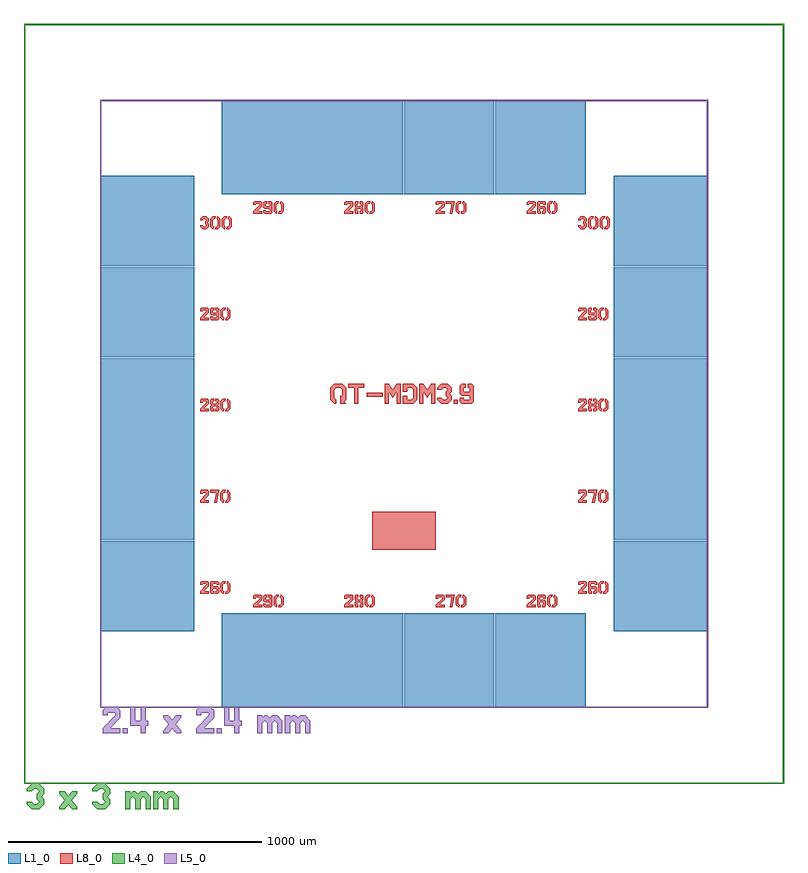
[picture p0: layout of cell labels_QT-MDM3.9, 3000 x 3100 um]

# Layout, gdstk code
import gdstk
lib = gdstk.Library(unit=1e-6, precision=1e-09)
def R(c, l, rs):  # rectangles x0, y0, x1, y1
    for r in rs: c.add(gdstk.rectangle(r[:2], r[2:], *l))
def A(c, l, x, y, w, h, nx, ny, dx, dy):  # array of equal rectangles
    R(c, l, [(x+i*dx, y+j*dy, x+i*dx+w, y+j*dy+h) for i in range(nx) for j in range(ny)])
def P(c, l, *ps):  # polygons
    for p in ps: c.add(gdstk.Polygon(p, *l))
L1_0 = (1, 0)
L4_0 = (4, 0)
L5_0 = (5, 0)
L8_0 = (8, 0)

text_t3_x_3_mm_s100_p0__ = lib.new_cell('text_T3_x_3_mm_S100_P0__7b22a6d8')
P(text_t3_x_3_mm_s100_p0__, L4_0, [(140,0),(140,10),(160.8,35),(140,60),(140,70),(160,70),(175,52),(190,70),(210,70),(210,60),(189.2,35),(210,10),(210,0),(190,0),(175,18),(160,0)],
  [(400,0),(400,70),(420,70),(420,60),(430,70),(440,70),(450,60),(460,70),(480,70),(500,50),(500,0),(480,0),(480,40),(470,50),(460,40),(460,0),(440,0),(440,40),(430,50),(420,40),(420,0)],
  [(510,0),(510,70),(530,70),(530,60),(540,70),(550,70),(560,60),(570,70),(590,70),(610,50),(610,0),(590,0),(590,40),(580,50),(570,40),(570,0),(550,0),(550,40),(540,50),(530,40),(530,0)],
  [(30,0),(10,20),(10,30),(30,30),(40,20),(50,20),(60,30),(50,40),(50,60),(60,70),(50,80),(40,80),(30,70),(10,70),(10,80),(30,100),(60,100),(80,80),(80,60),(70,50),(80,40),(80,20),(60,0)],
  [(290,0),(270,20),(270,30),(290,30),(300,20),(310,20),(320,30),(310,40),(310,60),(320,70),(310,80),(300,80),(290,70),(270,70),(270,80),(290,100),(320,100),(340,80),(340,60),(330,50),(340,40),(340,20),(320,0)])

text_t2p4_x_2p4_mm_s100_ = lib.new_cell('text_T2p4_x_2p4_mm_S100_c386069a')
R(text_t2p4_x_2p4_mm_s100_, L5_0, [(90,0,110,20), (460,0,480,20)])
P(text_t2p4_x_2p4_mm_s100_, L5_0, [(250,0),(250,10),(270.8,35),(250,60),(250,70),(270,70),(285,52),(300,70),(320,70),(320,60),(299.2,35),(320,10),(320,0),(300,0),(285,18),(270,0)],
  [(620,0),(620,70),(640,70),(640,60),(650,70),(660,70),(670,60),(680,70),(700,70),(720,50),(720,0),(700,0),(700,40),(690,50),(680,40),(680,0),(660,0),(660,40),(650,50),(640,40),(640,0)],
  [(730,0),(730,70),(750,70),(750,60),(760,70),(770,70),(780,60),(790,70),(810,70),(830,50),(830,0),(810,0),(810,40),(800,50),(790,40),(790,0),(770,0),(770,40),(760,50),(750,40),(750,0)],
  [(10,0),(10,20),(60,70),(60,80),(30,80),(30,70),(10,70),(10,90),(20,100),(70,100),(80,90),(80,60),(40,20),(80,20),(80,0)],
  [(160,0),(160,30),(120,30),(120,100),(140,100),(140,50),(160,50),(160,100),(180,100),(180,50),(190,50),(190,30),(180,30),(180,0)],
  [(380,0),(380,20),(430,70),(430,80),(400,80),(400,70),(380,70),(380,90),(390,100),(440,100),(450,90),(450,60),(410,20),(450,20),(450,0)],
  [(530,0),(530,30),(490,30),(490,100),(510,100),(510,50),(530,50),(530,100),(550,100),(550,50),(560,50),(560,30),(550,30),(550,0)])

labels_qt_mdm3_9 = lib.new_cell('labels_QT-MDM3.9')
A(labels_qt_mdm3_9, L1_0, 780, 300, 357, 373, 4, 2, 360, 2027)
A(labels_qt_mdm3_9, L1_0, 300, 603, 373, 357, 1, 5, 0, 360)
A(labels_qt_mdm3_9, L1_0, 2327, 603, 373, 357, 1, 5, 0, 360)
P(labels_qt_mdm3_9, L4_0, [(0,0),(0,2995),(5,2995),(5,5),(2995,5),(2995,2995),(0,2995),(0,3000),(3000,3000),(3000,0)])
P(labels_qt_mdm3_9, L5_0, [(300,300),(300,2695),(305,2695),(305,305),(2695,305),(2695,2695),(300,2695),(300,2700),(2700,2700),(2700,300)])
R(labels_qt_mdm3_9, L8_0, [(1375,925,1625,1075), (1375,925,1625,1075), (1375,925,1625,1075), (1375,925,1625,1075), (1696,1500,1712,1516), (1696,1500,1712,1516), (1696,1500,1712,1516), (1696,1500,1712,1516), (1352,1528,1416,1544), (1352,1528,1416,1544), (1352,1528,1416,1544), (1352,1528,1416,1544)])
P(labels_qt_mdm3_9, L8_0, [(1496,1500),(1496,1532),(1512,1532),(1512,1516),(1528,1516),(1536,1524),(1536,1556),(1528,1564),(1512,1564),(1512,1548),(1496,1548),(1496,1580),(1536,1580),(1552,1564),(1552,1516),(1536,1500)],
  [(695,1470),(695,1480),(720,1505),(720,1510),(705,1510),(705,1505),(695,1505),(695,1515),(700,1520),(725,1520),(730,1515),(730,1500),(710,1480),(730,1480),(730,1470)],
  [(740,1470),(735,1475),(735,1490),(740,1495),(735,1500),(735,1515),(740,1520),(750,1520),(750,1510),(745,1510),(745,1500),(760,1500),(760,1510),(755,1510),(755,1520),(765,1520),(770,1515),(770,1500),(765,1495),(770,1490),(770,1475),(765,1470),(755,1470),(755,1480),(760,1480),(760,1490),(745,1490),(745,1480),(750,1480),(750,1470)],
  [(785,1470),(775,1480),(775,1510),(785,1520),(796.5,1520),(794,1510),(790,1510),(785,1505),(785,1485),(790,1480),(787.5,1470)],
  [(793.5,1470),(796,1480),(800,1480),(805,1485),(805,1505),(800,1510),(802.5,1520),(805,1520),(815,1510),(815,1480),(805,1470)],
  [(1496,1500),(1496,1532),(1512,1532),(1512,1516),(1528,1516),(1536,1524),(1536,1556),(1528,1564),(1512,1564),(1512,1548),(1496,1548),(1496,1580),(1536,1580),(1552,1564),(1552,1516),(1536,1500)],
  [(2187,1470),(2187,1480),(2212,1505),(2212,1510),(2197,1510),(2197,1505),(2187,1505),(2187,1515),(2192,1520),(2217,1520),(2222,1515),(2222,1500),(2202,1480),(2222,1480),(2222,1470)],
  [(2232,1470),(2227,1475),(2227,1490),(2232,1495),(2227,1500),(2227,1515),(2232,1520),(2242,1520),(2242,1510),(2237,1510),(2237,1500),(2252,1500),(2252,1510),(2247,1510),(2247,1520),(2257,1520),(2262,1515),(2262,1500),(2257,1495),(2262,1490),(2262,1475),(2257,1470),(2247,1470),(2247,1480),(2252,1480),(2252,1490),(2237,1490),(2237,1480),(2242,1480),(2242,1470)],
  [(2277,1470),(2267,1480),(2267,1510),(2277,1520),(2288.5,1520),(2286,1510),(2282,1510),(2277,1505),(2277,1485),(2282,1480),(2279.5,1470)],
  [(2285.5,1470),(2288,1480),(2292,1480),(2297,1485),(2297,1505),(2292,1510),(2294.5,1520),(2297,1520),(2307,1510),(2307,1480),(2297,1470)],
  [(1496,1500),(1496,1532),(1512,1532),(1512,1516),(1528,1516),(1536,1524),(1536,1556),(1528,1564),(1512,1564),(1512,1548),(1496,1548),(1496,1580),(1536,1580),(1552,1564),(1552,1516),(1536,1500)],
  [(1496,1500),(1496,1532),(1512,1532),(1512,1516),(1528,1516),(1536,1524),(1536,1556),(1528,1564),(1512,1564),(1512,1548),(1496,1548),(1496,1580),(1536,1580),(1552,1564),(1552,1516),(1536,1500)],
  [(2197,2190),(2187,2200),(2187,2205),(2197,2205),(2202,2200),(2207,2200),(2212,2205),(2207,2210),(2207,2220),(2212,2225),(2207,2230),(2202,2230),(2197,2225),(2187,2225),(2187,2230),(2197,2240),(2212,2240),(2222,2230),(2222,2220),(2217,2215),(2222,2210),(2222,2200),(2212,2190)],
  [(2237,2190),(2227,2200),(2227,2230),(2237,2240),(2248.5,2240),(2246,2230),(2242,2230),(2237,2225),(2237,2205),(2242,2200),(2239.5,2190)],
  [(2245.5,2190),(2248,2200),(2252,2200),(2257,2205),(2257,2225),(2252,2230),(2254.5,2240),(2257,2240),(2267,2230),(2267,2200),(2257,2190)],
  [(2282,2190),(2272,2200),(2272,2230),(2282,2240),(2293.5,2240),(2291,2230),(2287,2230),(2282,2225),(2282,2205),(2287,2200),(2284.5,2190)],
  [(2290.5,2190),(2293,2200),(2297,2200),(2302,2205),(2302,2225),(2297,2230),(2299.5,2240),(2302,2240),(2312,2230),(2312,2200),(2302,2190)],
  [(2187,1830),(2187,1840),(2212,1865),(2212,1870),(2197,1870),(2197,1865),(2187,1865),(2187,1875),(2192,1880),(2217,1880),(2222,1875),(2222,1860),(2202,1840),(2222,1840),(2222,1830)],
  [(2232,1830),(2227,1835),(2227,1845),(2237,1845),(2237,1840),(2252,1840),(2252,1850),(2232,1850),(2227,1855),(2227,1875),(2232,1880),(2242,1880),(2242,1870),(2237,1870),(2237,1860),(2252,1860),(2252,1870),(2247,1870),(2247,1880),(2257,1880),(2262,1875),(2262,1835),(2257,1830)],
  [(2277,1830),(2267,1840),(2267,1870),(2277,1880),(2288.5,1880),(2286,1870),(2282,1870),(2277,1865),(2277,1845),(2282,1840),(2279.5,1830)],
  [(2285.5,1830),(2288,1840),(2292,1840),(2297,1845),(2297,1865),(2292,1870),(2294.5,1880),(2297,1880),(2307,1870),(2307,1840),(2297,1830)],
  [(1728,1500),(1720,1508),(1720,1524),(1736,1524),(1736,1516),(1760,1516),(1760,1532),(1728,1532),(1720,1540),(1720,1572),(1728,1580),(1744,1580),(1744,1564),(1736,1564),(1736,1548),(1760,1548),(1760,1564),(1752,1564),(1752,1580),(1768,1580),(1776,1572),(1776,1508),(1768,1500)],
  [(1560,1500),(1560,1580),(1576,1580),(1592,1556),(1608,1580),(1624,1580),(1624,1500),(1608,1500),(1608,1548),(1592,1524),(1576,1548),(1576,1500)],
  [(1560,1500),(1560,1580),(1576,1580),(1592,1556),(1608,1580),(1624,1580),(1624,1500),(1608,1500),(1608,1548),(1592,1524),(1576,1548),(1576,1500)],
  [(1560,1500),(1560,1580),(1576,1580),(1592,1556),(1608,1580),(1624,1580),(1624,1500),(1608,1500),(1608,1548),(1592,1524),(1576,1548),(1576,1500)],
  [(1648,1500),(1632,1516),(1632,1524),(1648,1524),(1656,1516),(1664,1516),(1672,1524),(1664,1532),(1664,1548),(1672,1556),(1664,1564),(1656,1564),(1648,1556),(1632,1556),(1632,1564),(1648,1580),(1672,1580),(1688,1564),(1688,1548),(1680,1540),(1688,1532),(1688,1516),(1672,1500)],
  [(1728,1500),(1720,1508),(1720,1524),(1736,1524),(1736,1516),(1760,1516),(1760,1532),(1728,1532),(1720,1540),(1720,1572),(1728,1580),(1744,1580),(1744,1564),(1736,1564),(1736,1548),(1760,1548),(1760,1564),(1752,1564),(1752,1580),(1768,1580),(1776,1572),(1776,1508),(1768,1500)],
  [(1648,1500),(1632,1516),(1632,1524),(1648,1524),(1656,1516),(1664,1516),(1672,1524),(1664,1532),(1664,1548),(1672,1556),(1664,1564),(1656,1564),(1648,1556),(1632,1556),(1632,1564),(1648,1580),(1672,1580),(1688,1564),(1688,1548),(1680,1540),(1688,1532),(1688,1516),(1672,1500)],
  [(1625,2250),(1625,2260),(1650,2285),(1650,2290),(1635,2290),(1635,2285),(1625,2285),(1625,2295),(1630,2300),(1655,2300),(1660,2295),(1660,2280),(1640,2260),(1660,2260),(1660,2250)],
  [(1680,2250),(1688,2290),(1665,2290),(1665,2300),(1700,2300),(1690,2250)],
  [(1715,2250),(1705,2260),(1705,2290),(1715,2300),(1726.5,2300),(1724,2290),(1720,2290),(1715,2285),(1715,2265),(1720,2260),(1717.5,2250)],
  [(1723.5,2250),(1726,2260),(1730,2260),(1735,2265),(1735,2285),(1730,2290),(1732.5,2300),(1735,2300),(1745,2290),(1745,2260),(1735,2250)],
  [(1985,2250),(1985,2260),(2010,2285),(2010,2290),(1995,2290),(1995,2285),(1985,2285),(1985,2295),(1990,2300),(2015,2300),(2020,2295),(2020,2280),(2000,2260),(2020,2260),(2020,2250)],
  [(2030,2250),(2025,2255),(2025,2295),(2030,2300),(2055,2300),(2060,2295),(2060,2285),(2050,2285),(2050,2290),(2035,2290),(2035,2280),(2055,2280),(2060,2275),(2060,2255),(2055,2250),(2045,2250),(2045,2260),(2050,2260),(2050,2270),(2035,2270),(2035,2260),(2040,2260),(2040,2250)],
  [(2075,2250),(2065,2260),(2065,2290),(2075,2300),(2086.5,2300),(2084,2290),(2080,2290),(2075,2285),(2075,2265),(2080,2260),(2077.5,2250)],
  [(2083.5,2250),(2086,2260),(2090,2260),(2095,2265),(2095,2285),(2090,2290),(2092.5,2300),(2095,2300),(2105,2290),(2105,2260),(2095,2250)],
  [(1728,1500),(1720,1508),(1720,1524),(1736,1524),(1736,1516),(1760,1516),(1760,1532),(1728,1532),(1720,1540),(1720,1572),(1728,1580),(1744,1580),(1744,1564),(1736,1564),(1736,1548),(1760,1548),(1760,1564),(1752,1564),(1752,1580),(1768,1580),(1776,1572),(1776,1508),(1768,1500)],
  [(1560,1500),(1560,1580),(1576,1580),(1592,1556),(1608,1580),(1624,1580),(1624,1500),(1608,1500),(1608,1548),(1592,1524),(1576,1548),(1576,1500)],
  [(1648,1500),(1632,1516),(1632,1524),(1648,1524),(1656,1516),(1664,1516),(1672,1524),(1664,1532),(1664,1548),(1672,1556),(1664,1564),(1656,1564),(1648,1556),(1632,1556),(1632,1564),(1648,1580),(1672,1580),(1688,1564),(1688,1548),(1680,1540),(1688,1532),(1688,1516),(1672,1500)],
  [(1728,1500),(1720,1508),(1720,1524),(1736,1524),(1736,1516),(1760,1516),(1760,1532),(1728,1532),(1720,1540),(1720,1572),(1728,1580),(1744,1580),(1744,1564),(1736,1564),(1736,1548),(1760,1548),(1760,1564),(1752,1564),(1752,1580),(1768,1580),(1776,1572),(1776,1508),(1768,1500)],
  [(1648,1500),(1632,1516),(1632,1524),(1648,1524),(1656,1516),(1664,1516),(1672,1524),(1664,1532),(1664,1548),(1672,1556),(1664,1564),(1656,1564),(1648,1556),(1632,1556),(1632,1564),(1648,1580),(1672,1580),(1688,1564),(1688,1548),(1680,1540),(1688,1532),(1688,1516),(1672,1500)],
  [(1304,1500),(1304,1564),(1280,1564),(1280,1580),(1344,1580),(1344,1564),(1320,1564),(1320,1500)],
  [(1424,1500),(1424,1580),(1440,1580),(1456,1556),(1472,1580),(1488,1580),(1488,1500),(1472,1500),(1472,1548),(1456,1524),(1440,1548),(1440,1500)],
  [(790,2190),(780,2200),(780,2230),(790,2240),(801.5,2240),(799,2230),(795,2230),(790,2225),(790,2205),(795,2200),(792.5,2190)],
  [(798.5,2190),(801,2200),(805,2200),(810,2205),(810,2225),(805,2230),(807.5,2240),(810,2240),(820,2230),(820,2200),(810,2190)],
  [(695,1830),(695,1840),(720,1865),(720,1870),(705,1870),(705,1865),(695,1865),(695,1875),(700,1880),(725,1880),(730,1875),(730,1860),(710,1840),(730,1840),(730,1830)],
  [(740,1830),(735,1835),(735,1845),(745,1845),(745,1840),(760,1840),(760,1850),(740,1850),(735,1855),(735,1875),(740,1880),(750,1880),(750,1870),(745,1870),(745,1860),(760,1860),(760,1870),(755,1870),(755,1880),(765,1880),(770,1875),(770,1835),(765,1830)],
  [(785,1830),(775,1840),(775,1870),(785,1880),(796.5,1880),(794,1870),(790,1870),(785,1865),(785,1845),(790,1840),(787.5,1830)],
  [(905,2250),(905,2260),(930,2285),(930,2290),(915,2290),(915,2285),(905,2285),(905,2295),(910,2300),(935,2300),(940,2295),(940,2280),(920,2260),(940,2260),(940,2250)],
  [(950,2250),(945,2255),(945,2265),(955,2265),(955,2260),(970,2260),(970,2270),(950,2270),(945,2275),(945,2295),(950,2300),(960,2300),(960,2290),(955,2290),(955,2280),(970,2280),(970,2290),(965,2290),(965,2300),(975,2300),(980,2295),(980,2255),(975,2250)],
  [(995,2250),(985,2260),(985,2290),(995,2300),(1006.5,2300),(1004,2290),(1000,2290),(995,2285),(995,2265),(1000,2260),(997.5,2250)],
  [(1003.5,2250),(1006,2260),(1010,2260),(1015,2265),(1015,2285),(1010,2290),(1012.5,2300),(1015,2300),(1025,2290),(1025,2260),(1015,2250)],
  [(1265,2250),(1265,2260),(1290,2285),(1290,2290),(1275,2290),(1275,2285),(1265,2285),(1265,2295),(1270,2300),(1295,2300),(1300,2295),(1300,2280),(1280,2260),(1300,2260),(1300,2250)],
  [(1310,2250),(1305,2255),(1305,2270),(1310,2275),(1305,2280),(1305,2295),(1310,2300),(1320,2300),(1320,2290),(1315,2290),(1315,2280),(1330,2280),(1330,2290),(1325,2290),(1325,2300),(1335,2300),(1340,2295),(1340,2280),(1335,2275),(1340,2270),(1340,2255),(1335,2250),(1325,2250),(1325,2260),(1330,2260),(1330,2270),(1315,2270),(1315,2260),(1320,2260),(1320,2250)],
  [(1355,2250),(1345,2260),(1345,2290),(1355,2300),(1366.5,2300),(1364,2290),(1360,2290),(1355,2285),(1355,2265),(1360,2260),(1357.5,2250)],
  [(1363.5,2250),(1366,2260),(1370,2260),(1375,2265),(1375,2285),(1370,2290),(1372.5,2300),(1375,2300),(1385,2290),(1385,2260),(1375,2250)],
  [(793.5,1830),(796,1840),(800,1840),(805,1845),(805,1865),(800,1870),(802.5,1880),(805,1880),(815,1870),(815,1840),(805,1830)],
  [(1224,1500),(1208,1516),(1208,1564),(1224,1580),(1256,1580),(1272,1564),(1272,1516),(1264,1508),(1272,1500),(1248,1500),(1248,1532),(1256,1532),(1256,1556),(1248,1564),(1232,1564),(1224,1556),(1224,1524),(1232,1516),(1232,1500)],
  [(1304,1500),(1304,1564),(1280,1564),(1280,1580),(1344,1580),(1344,1564),(1320,1564),(1320,1500)],
  [(1424,1500),(1424,1580),(1440,1580),(1456,1556),(1472,1580),(1488,1580),(1488,1500),(1472,1500),(1472,1548),(1456,1524),(1440,1548),(1440,1500)],
  [(705,2190),(695,2200),(695,2205),(705,2205),(710,2200),(715,2200),(720,2205),(715,2210),(715,2220),(720,2225),(715,2230),(710,2230),(705,2225),(695,2225),(695,2230),(705,2240),(720,2240),(730,2230),(730,2220),(725,2215),(730,2210),(730,2200),(720,2190)],
  [(1224,1500),(1208,1516),(1208,1564),(1224,1580),(1256,1580),(1272,1564),(1272,1516),(1264,1508),(1272,1500),(1248,1500),(1248,1532),(1256,1532),(1256,1556),(1248,1564),(1232,1564),(1224,1556),(1224,1524),(1232,1516),(1232,1500)],
  [(1304,1500),(1304,1564),(1280,1564),(1280,1580),(1344,1580),(1344,1564),(1320,1564),(1320,1500)],
  [(1224,1500),(1208,1516),(1208,1564),(1224,1580),(1256,1580),(1272,1564),(1272,1516),(1264,1508),(1272,1500),(1248,1500),(1248,1532),(1256,1532),(1256,1556),(1248,1564),(1232,1564),(1224,1556),(1224,1524),(1232,1516),(1232,1500)],
  [(1304,1500),(1304,1564),(1280,1564),(1280,1580),(1344,1580),(1344,1564),(1320,1564),(1320,1500)],
  [(1424,1500),(1424,1580),(1440,1580),(1456,1556),(1472,1580),(1488,1580),(1488,1500),(1472,1500),(1472,1548),(1456,1524),(1440,1548),(1440,1500)],
  [(1424,1500),(1424,1580),(1440,1580),(1456,1556),(1472,1580),(1488,1580),(1488,1500),(1472,1500),(1472,1548),(1456,1524),(1440,1548),(1440,1500)],
  [(745,2190),(735,2200),(735,2230),(745,2240),(756.5,2240),(754,2230),(750,2230),(745,2225),(745,2205),(750,2200),(747.5,2190)],
  [(753.5,2190),(756,2200),(760,2200),(765,2205),(765,2225),(760,2230),(762.5,2240),(765,2240),(775,2230),(775,2200),(765,2190)],
  [(1224,1500),(1208,1516),(1208,1564),(1224,1580),(1256,1580),(1272,1564),(1272,1516),(1264,1508),(1272,1500),(1248,1500),(1248,1532),(1256,1532),(1256,1556),(1248,1564),(1232,1564),(1224,1556),(1224,1524),(1232,1516),(1232,1500)],
  [(793.5,1110),(796,1120),(800,1120),(805,1125),(805,1145),(800,1150),(802.5,1160),(805,1160),(815,1150),(815,1120),(805,1110)],
  [(695,750),(695,760),(720,785),(720,790),(705,790),(705,785),(695,785),(695,795),(700,800),(725,800),(730,795),(730,780),(710,760),(730,760),(730,750)],
  [(740,750),(735,755),(735,795),(740,800),(765,800),(770,795),(770,785),(760,785),(760,790),(745,790),(745,780),(765,780),(770,775),(770,755),(765,750),(755,750),(755,760),(760,760),(760,770),(745,770),(745,760),(750,760),(750,750)],
  [(785,750),(775,760),(775,790),(785,800),(796.5,800),(794,790),(790,790),(785,785),(785,765),(790,760),(787.5,750)],
  [(793.5,750),(796,760),(800,760),(805,765),(805,785),(800,790),(802.5,800),(805,800),(815,790),(815,760),(805,750)],
  [(695,1110),(695,1120),(720,1145),(720,1150),(705,1150),(705,1145),(695,1145),(695,1155),(700,1160),(725,1160),(730,1155),(730,1140),(710,1120),(730,1120),(730,1110)],
  [(750,1110),(758,1150),(735,1150),(735,1160),(770,1160),(760,1110)],
  [(785,1110),(775,1120),(775,1150),(785,1160),(796.5,1160),(794,1150),(790,1150),(785,1145),(785,1125),(790,1120),(787.5,1110)],
  [(905,696.5),(905,706.5),(930,731.5),(930,736.5),(915,736.5),(915,731.5),(905,731.5),(905,741.5),(910,746.5),(935,746.5),(940,741.5),(940,726.5),(920,706.5),(940,706.5),(940,696.5)],
  [(950,696.5),(945,701.5),(945,711.5),(955,711.5),(955,706.5),(970,706.5),(970,716.5),(950,716.5),(945,721.5),(945,741.5),(950,746.5),(960,746.5),(960,736.5),(955,736.5),(955,726.5),(970,726.5),(970,736.5),(965,736.5),(965,746.5),(975,746.5),(980,741.5),(980,701.5),(975,696.5)],
  [(995,696.5),(985,706.5),(985,736.5),(995,746.5),(1006.5,746.5),(1004,736.5),(1000,736.5),(995,731.5),(995,711.5),(1000,706.5),(997.5,696.5)],
  [(1003.5,696.5),(1006,706.5),(1010,706.5),(1015,711.5),(1015,731.5),(1010,736.5),(1012.5,746.5),(1015,746.5),(1025,736.5),(1025,706.5),(1015,696.5)],
  [(1265,696.5),(1265,706.5),(1290,731.5),(1290,736.5),(1275,736.5),(1275,731.5),(1265,731.5),(1265,741.5),(1270,746.5),(1295,746.5),(1300,741.5),(1300,726.5),(1280,706.5),(1300,706.5),(1300,696.5)],
  [(1310,696.5),(1305,701.5),(1305,716.5),(1310,721.5),(1305,726.5),(1305,741.5),(1310,746.5),(1320,746.5),(1320,736.5),(1315,736.5),(1315,726.5),(1330,726.5),(1330,736.5),(1325,736.5),(1325,746.5),(1335,746.5),(1340,741.5),(1340,726.5),(1335,721.5),(1340,716.5),(1340,701.5),(1335,696.5),(1325,696.5),(1325,706.5),(1330,706.5),(1330,716.5),(1315,716.5),(1315,706.5),(1320,706.5),(1320,696.5)],
  [(1355,696.5),(1345,706.5),(1345,736.5),(1355,746.5),(1366.5,746.5),(1364,736.5),(1360,736.5),(1355,731.5),(1355,711.5),(1360,706.5),(1357.5,696.5)],
  [(1363.5,696.5),(1366,706.5),(1370,706.5),(1375,711.5),(1375,731.5),(1370,736.5),(1372.5,746.5),(1375,746.5),(1385,736.5),(1385,706.5),(1375,696.5)],
  [(2187,750),(2187,760),(2212,785),(2212,790),(2197,790),(2197,785),(2187,785),(2187,795),(2192,800),(2217,800),(2222,795),(2222,780),(2202,760),(2222,760),(2222,750)],
  [(2232,750),(2227,755),(2227,795),(2232,800),(2257,800),(2262,795),(2262,785),(2252,785),(2252,790),(2237,790),(2237,780),(2257,780),(2262,775),(2262,755),(2257,750),(2247,750),(2247,760),(2252,760),(2252,770),(2237,770),(2237,760),(2242,760),(2242,750)],
  [(2277,750),(2267,760),(2267,790),(2277,800),(2288.5,800),(2286,790),(2282,790),(2277,785),(2277,765),(2282,760),(2279.5,750)],
  [(2285.5,750),(2288,760),(2292,760),(2297,765),(2297,785),(2292,790),(2294.5,800),(2297,800),(2307,790),(2307,760),(2297,750)],
  [(2187,1110),(2187,1120),(2212,1145),(2212,1150),(2197,1150),(2197,1145),(2187,1145),(2187,1155),(2192,1160),(2217,1160),(2222,1155),(2222,1140),(2202,1120),(2222,1120),(2222,1110)],
  [(2242,1110),(2250,1150),(2227,1150),(2227,1160),(2262,1160),(2252,1110)],
  [(2277,1110),(2267,1120),(2267,1150),(2277,1160),(2288.5,1160),(2286,1150),(2282,1150),(2277,1145),(2277,1125),(2282,1120),(2279.5,1110)],
  [(2285.5,1110),(2288,1120),(2292,1120),(2297,1125),(2297,1145),(2292,1150),(2294.5,1160),(2297,1160),(2307,1150),(2307,1120),(2297,1110)],
  [(1625,696.5),(1625,706.5),(1650,731.5),(1650,736.5),(1635,736.5),(1635,731.5),(1625,731.5),(1625,741.5),(1630,746.5),(1655,746.5),(1660,741.5),(1660,726.5),(1640,706.5),(1660,706.5),(1660,696.5)],
  [(1680,696.5),(1688,736.5),(1665,736.5),(1665,746.5),(1700,746.5),(1690,696.5)],
  [(1715,696.5),(1705,706.5),(1705,736.5),(1715,746.5),(1726.5,746.5),(1724,736.5),(1720,736.5),(1715,731.5),(1715,711.5),(1720,706.5),(1717.5,696.5)],
  [(1723.5,696.5),(1726,706.5),(1730,706.5),(1735,711.5),(1735,731.5),(1730,736.5),(1732.5,746.5),(1735,746.5),(1745,736.5),(1745,706.5),(1735,696.5)],
  [(1985,696.5),(1985,706.5),(2010,731.5),(2010,736.5),(1995,736.5),(1995,731.5),(1985,731.5),(1985,741.5),(1990,746.5),(2015,746.5),(2020,741.5),(2020,726.5),(2000,706.5),(2020,706.5),(2020,696.5)],
  [(2030,696.5),(2025,701.5),(2025,741.5),(2030,746.5),(2055,746.5),(2060,741.5),(2060,731.5),(2050,731.5),(2050,736.5),(2035,736.5),(2035,726.5),(2055,726.5),(2060,721.5),(2060,701.5),(2055,696.5),(2045,696.5),(2045,706.5),(2050,706.5),(2050,716.5),(2035,716.5),(2035,706.5),(2040,706.5),(2040,696.5)],
  [(2075,696.5),(2065,706.5),(2065,736.5),(2075,746.5),(2086.5,746.5),(2084,736.5),(2080,736.5),(2075,731.5),(2075,711.5),(2080,706.5),(2077.5,696.5)],
  [(2083.5,696.5),(2086,706.5),(2090,706.5),(2095,711.5),(2095,731.5),(2090,736.5),(2092.5,746.5),(2095,746.5),(2105,736.5),(2105,706.5),(2095,696.5)])
labels_qt_mdm3_9.add(gdstk.Reference(text_t3_x_3_mm_s100_p0__, (0,-100)))
labels_qt_mdm3_9.add(gdstk.Reference(text_t2p4_x_2p4_mm_s100_, (300,200)))

lib.write_gds('labels_QT-MDM3.9.gds')
